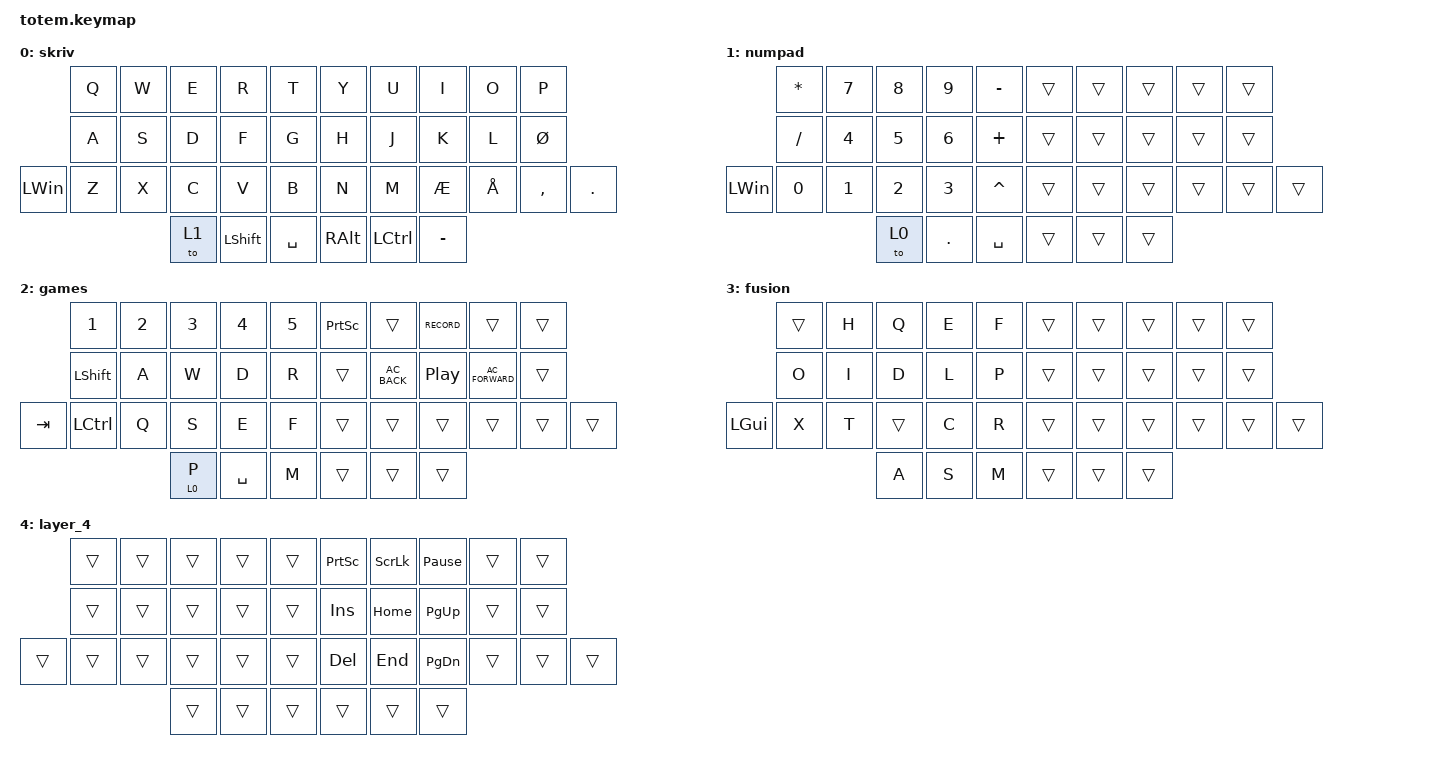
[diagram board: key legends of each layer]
//
//                                                        ▀▀▀▀▀     ▀▀▀▀▀          ▀▀█▀▀
//                                                        ▄▀▀▀▄  ▄  ▄▀▀▀▄  ▄  ▄▀▀▀▄  █  ▄▀▀▀▄
//                                                        █   █  █  █   █  █  █   █  █  █   █
//                                                         ▀▀▀   █   ▀▀▀   █   ▀▀▀   ▀   ▀▀▀
//                                                               █      ▄▄▄█▄▄▄    █   █  
//                                                               ▀      █  █  █     █▄█
//                                                             ▀▀▀▀▀    █  █  █      ▀
//                                                                      ▀  ▀  ▀
//
// ▄▄▄▄▄▄▄▄▄▄▄▄▄▄▄▄▄▄▄▄▄▄▄▄▄▄▄▄▄▄▄▄▄▄▄▄▄▄▄▄▄▄▄▄▄▄▄▄▄▄▄▄▄▄▄▄▄▄▄▄▄▄▄▄▄▄▄▄▄▄▄▄▄▄▄▄▄▄▄▄▄▄▄▄▄▄▄▄▄▄▄▄▄▄▄▄▄▄▄▄▄▄▄▄▄▄▄▄▄▄▄▄▄▄▄▄▄▄▄▄▄▄▄▄▄▄▄▄▄▄▄▄▄▄▄▄▄▄▄▄▄▄▄▄▄▄▄▄▄

#include <behaviors.dtsi>
#include <dt-bindings/zmk/keys.h>

#define BASE 0
#define NAV  1
#define SYM  2
#define ADJ  3
#define TVP1 4
#define TVP2 5

&mt {
    quick-tap-ms = <100>;
    global-quick-tap;
    flavor = "tap-preferred";
    tapping-term-ms = <170>;
};

/ {
    combos {
        compatible = "zmk,combos";

        enter {
            bindings = <&kp ENTER>;
            key-positions = <13 12 11>;
        };

        backspacse {
            bindings = <&kp BACKSPACE>;
            key-positions = <3 4>;
        };

        backshots {
            bindings = <&kp BACKSPACE>;
            key-positions = <5 6>;
        };

        tab {
            bindings = <&kp TAB>;
            key-positions = <0 1>;
        };

        delete {
            bindings = <&kp DELETE>;
            key-positions = <11 1 0>;
        };

        game_layer {
            bindings = <&to 2>;
            key-positions = <10 21 22>;
        };
    };

    keymap {
        compatible = "zmk,keymap";

        // ▄▄▄▄▄▄▄▄▄▄▄▄▄▄▄▄▄▄▄▄▄▄▄▄▄▄▄▄▄▄▄▄▄▄▄▄▄▄▄▄▄▄▄▄▄▄▄▄▄▄▄▄▄▄▄▄▄▄▄▄▄▄▄▄▄▄▄▄▄▄▄▄▄▄▄▄▄▄▄▄▄▄▄▄▄▄▄▄▄▄▄▄▄▄▄▄▄▄▄▄▄▄▄▄▄▄▄▄▄▄▄▄▄▄▄▄▄▄▄▄▄▄▄▄▄▄▄▄▄▄▄▄▄▄▄▄▄▄▄▄▄▄▄▄▄▄▄▄▄
        // ▄▄▄▄▄▄▄▄▄▄▄▄▄▄▄▄▄▄▄▄▄▄▄▄▄▄▄▄▄▄▄▄▄▄▄▄▄▄▄▄▄▄▄▄▄▄▄▄▄▄▄▄▄▄▄▄▄▄▄▄▄▄▄▄▄▄▄▄▄▄▄▄▄▄▄▄▄▄▄▄▄▄▄▄▄▄▄▄▄▄▄▄▄▄▄▄▄▄▄▄▄▄▄▄▄▄▄▄▄▄▄▄▄▄▄▄▄▄▄▄▄▄▄▄▄▄▄▄▄▄▄▄▄▄▄▄▄▄▄▄▄▄▄▄▄▄▄▄▄
        // ▄▄▄▄▄▄▄▄▄▄▄▄▄▄▄▄▄▄▄▄▄▄▄▄▄▄▄▄▄▄▄▄▄▄▄▄▄▄▄▄▄▄▄▄▄▄▄▄▄▄▄▄▄▄▄▄▄▄▄▄▄▄▄▄▄▄▄▄▄▄▄▄▄▄▄▄▄▄▄▄▄▄▄▄▄▄▄▄▄▄▄▄▄▄▄▄▄▄▄▄▄▄▄▄▄▄▄▄▄▄▄▄▄▄▄▄▄▄▄▄▄▄▄▄▄▄▄▄▄▄▄▄▄▄▄▄▄▄▄▄▄▄▄▄▄▄▄▄▄
        // ▄▄▄▄▄▄▄▄▄▄▄▄▄▄▄▄▄▄▄▄▄▄▄▄▄▄▄▄▄▄▄▄▄▄▄▄▄▄▄▄▄▄▄▄▄▄▄▄▄▄▄▄▄▄▄▄▄▄▄▄▄▄▄▄▄▄▄▄▄▄▄▄▄▄▄▄▄▄▄▄▄▄▄▄▄▄▄▄▄▄▄▄▄▄▄▄▄▄▄▄▄▄▄▄▄▄▄▄▄▄▄▄▄▄▄▄▄▄▄▄▄▄▄▄▄▄▄▄▄▄▄▄▄▄▄▄▄▄▄▄▄▄▄▄▄▄▄▄▄
        // ▄▄▄▄▄▄▄▄▄▄▄▄▄▄▄▄▄▄▄▄▄▄▄▄▄▄▄▄▄▄▄▄▄▄▄▄▄▄▄▄▄▄▄▄▄▄▄▄▄▄▄▄▄▄▄▄▄▄▄▄▄▄▄▄▄▄▄▄▄▄▄▄▄▄▄▄▄▄▄▄▄▄▄▄▄▄▄▄▄▄▄▄▄▄▄▄▄▄▄▄▄▄▄▄▄▄▄▄▄▄▄▄▄▄▄▄▄▄▄▄▄▄▄▄▄▄▄▄▄▄▄▄▄▄▄▄▄▄▄▄▄▄▄▄▄▄▄▄▄
        // ▄▄▄▄▄▄▄▄▄▄▄▄▄▄▄▄▄▄▄▄▄▄▄▄▄▄▄▄▄▄▄▄▄▄▄▄▄▄▄▄▄▄▄▄▄▄▄▄▄▄▄▄▄▄▄▄▄▄▄▄▄▄▄▄▄▄▄▄▄▄▄▄▄▄▄▄▄▄▄▄▄▄▄▄▄▄▄▄▄▄▄▄▄▄▄▄▄▄▄▄▄▄▄▄▄▄▄▄▄▄▄▄▄▄▄▄▄▄▄▄▄▄▄▄▄▄▄▄▄▄▄▄▄▄▄▄▄▄▄▄▄▄▄▄▄▄▄▄▄

        skriv {
            bindings = <
              &kp Q  &kp W  &kp E  &kp R       &kp T        &kp Y          &kp U      &kp I      &kp O   &kp P
              &kp A  &kp S  &kp D  &kp F       &kp G        &kp H          &kp J      &kp K      &kp L   &kp Ø
&kp LEFT_WIN  &kp Z  &kp X  &kp C  &kp V       &kp B        &kp N          &kp M      &kp Æ      &kp Å  &kp COMMA  &kp PERIOD
                            &to 1  &kp LSHIFT  &kp SPACE    &kp RIGHT_ALT  &kp LCTRL  &kp MINUS
            >;
        };

        numpad {
            bindings = <
              &kp ASTERISK  &kp N7  &kp N8  &kp N9   &kp MINUS    &trans  &trans  &trans  &trans  &trans
              &kp SLASH     &kp N4  &kp N5  &kp N6   &kp PLUS     &trans  &trans  &trans  &trans  &trans
&kp LEFT_WIN  &kp N0        &kp N1  &kp N2  &kp N3   &kp CARET    &trans  &trans  &trans  &trans  &trans  &trans
                                    &to 0   &kp DOT  &kp SPACE    &trans  &trans  &trans
            >;
        };

        games {
            bindings = <
         &kp N1     &kp N2  &kp N3   &kp N4     &kp N5    &kp PRINTSCREEN  &trans         &kp C_RECORD      &trans            &trans
         &kp LSHFT  &kp A   &kp W    &kp D      &kp R     &trans           &kp C_AC_BACK  &kp C_PLAY_PAUSE  &kp C_AC_FORWARD  &trans
&kp TAB  &kp LCTRL  &kp Q   &kp S    &kp E      &kp F     &trans           &trans         &trans            &trans            &trans  &trans
                            &lt 0 P  &kp SPACE  &kp M     &trans           &trans         &trans
            >;
        };

        fusion {
            bindings = <
          &trans  &kp H  &kp Q   &kp E  &kp F    &trans  &trans  &trans  &trans  &trans
          &kp O   &kp I  &kp D   &kp L  &kp P    &trans  &trans  &trans  &trans  &trans
&kp LGUI  &kp X   &kp T  &trans  &kp C  &kp R    &trans  &trans  &trans  &trans  &trans  &trans
                         &kp A   &kp S  &kp M    &trans  &trans  &trans
            >;
        };

        layer_4 {
            bindings = <
        &trans  &trans  &trans  &trans  &trans    &kp PRINTSCREEN  &kp SCROLLLOCK  &kp PAUSE_BREAK  &trans  &trans
        &trans  &trans  &trans  &trans  &trans    &kp INSERT       &kp HOME        &kp PAGE_UP      &trans  &trans
&trans  &trans  &trans  &trans  &trans  &trans    &kp DELETE       &kp END         &kp PAGE_DOWN    &trans  &trans  &trans
                        &trans  &trans  &trans    &trans           &trans          &trans
            >;
        };
    };
};
